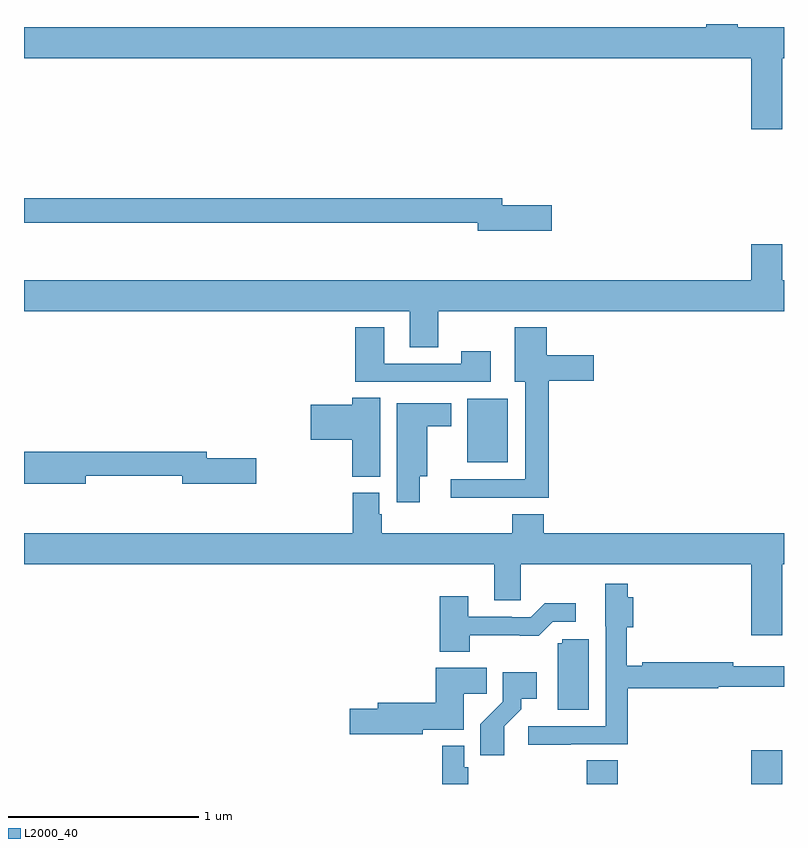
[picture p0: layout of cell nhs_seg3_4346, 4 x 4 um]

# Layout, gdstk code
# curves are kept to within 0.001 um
import gdstk
lib = gdstk.Library(unit=1e-6, precision=1e-09)
def R(c, l, rs):  # rectangles x0, y0, x1, y1
    for r in rs: c.add(gdstk.rectangle(r[:2], r[2:], *l))
def P(c, l, *ps):  # polygons
    for p in ps: c.add(gdstk.Polygon(p, *l))
L2000_40 = (2000, 40)

nhs_seg3_4346 = lib.new_cell('nhs_seg3_4346')
R(nhs_seg3_4346, L2000_40, [(343.961,726.4,344.126,726.524), (344.828,726.4,344.992,726.577), (343.334,728.093,343.546,728.428)])
P(nhs_seg3_4346, L2000_40, [(344.992,730.22),(345,730.22),(345,730.384),(344.756,730.384),(344.756,730.4),(344.591,730.4),(344.591,730.384),(341,730.384),(341,730.22),(344.828,730.22),(344.828,729.846),(344.992,729.846)],
  [(343.777,729.446),(343.516,729.446),(343.516,729.482),(341,729.482),(341,729.354),(343.388,729.354),(343.388,729.311),(343.777,729.311)],
  [(343.179,728.888),(345,728.888),(345,729.052),(344.992,729.052),(344.992,729.241),(344.828,729.241),(344.828,729.052),(341,729.052),(341,728.888),(343.031,728.888),(343.031,728.698),(343.179,728.698)],
  [(343.763,728.522),(343.999,728.522),(343.999,728.656),(343.75,728.656),(343.75,728.803),(343.583,728.803),(343.583,728.516),(343.637,728.516),(343.637,728.004),(343.245,728.004),(343.245,727.907),(343.763,727.907)],
  [(343.456,728.677),(343.3,728.677),(343.3,728.613),(342.895,728.613),(342.895,728.803),(342.743,728.803),(342.743,728.517),(343.456,728.517)],
  [(342.874,728.432),(342.728,728.432),(342.728,728.396),(342.51,728.396),(342.51,728.213),(342.728,728.213),(342.728,728.017),(342.874,728.017)],
  [(343.084,728.021),(343.123,728.021),(343.123,728.282),(343.249,728.282),(343.249,728.404),(342.962,728.404),(342.962,727.884),(343.084,727.884)],
  [(341.326,728.022),(341.834,728.022),(341.834,727.979),(342.223,727.979),(342.223,728.114),(341.962,728.114),(341.962,728.15),(341,728.15),(341,727.979),(341.326,727.979)],
  [(344.992,727.556),(345,727.556),(345,727.72),(343.736,727.72),(343.736,727.819),(343.571,727.819),(343.571,727.72),(342.884,727.72),(342.884,727.821),(342.871,727.821),(342.871,727.932),(342.731,727.932),(342.731,727.72),(341,727.72),(341,727.556),(343.475,727.556),(343.475,727.366),(343.614,727.366),(343.614,727.556),(344.828,727.556),(344.828,727.182),(344.992,727.182)],
  [(343.877,726.609),(344.177,726.609),(344.177,726.904),(344.654,726.904),(344.654,726.912),(345,726.912),(345,727.021),(344.732,727.021),(344.732,727.04),(344.254,727.04),(344.254,727.022),(344.173,727.022),(344.173,727.226),(344.207,727.226),(344.207,727.384),(344.177,727.384),(344.177,727.453),(344.06,727.453),(344.06,727.23),(344.061,727.23),(344.061,726.705),(343.653,726.705),(343.653,726.607),(343.877,726.607)],
  [(343.347,727.182),(343.709,727.181),(343.782,727.254),(343.903,727.254),(343.903,727.351),(343.741,727.351),(343.668,727.278),(343.568,727.278),(343.568,727.281),(343.339,727.281),(343.339,727.387),(343.187,727.387),(343.187,727.097),(343.347,727.097)],
  [(343.972,727.161),(343.833,727.161),(343.833,727.14),(343.808,727.14),(343.808,726.792),(343.972,726.792)],
  [(343.098,726.686),(343.315,726.686),(343.315,726.874),(343.436,726.874),(343.436,727.012),(343.166,727.012),(343.166,726.827),(342.863,726.827),(342.863,726.797),(342.714,726.797),(342.714,726.662),(343.098,726.662)],
  [(343.528,726.703),(343.618,726.793),(343.618,726.848),(343.699,726.848),(343.699,726.988),(343.521,726.988),(343.521,726.833),(343.402,726.714),(343.402,726.552),(343.528,726.552)],
  [(343.337,726.489),(343.317,726.489),(343.317,726.601),(343.201,726.601),(343.201,726.4),(343.337,726.4)])

lib.write_gds('nhs_seg3_4346.gds')
